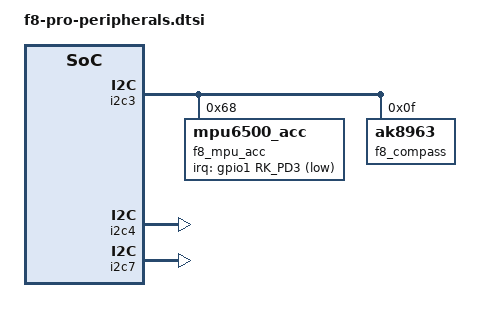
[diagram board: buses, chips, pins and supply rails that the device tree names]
// SPDX-License-Identifier: GPL-2.0-only
// Development fragment derived from the archived F8-PRO vendor DT.
// Not a complete board: PMIC, display power/graph, storage, GPU and boot are pending.
// Do not deploy the compile-check DTB produced with this fragment.

// PWM14 m0 is GPIO3_C2, the factory vibrator control. Backlight uses m1.
&pwm14 {
	pinctrl-names = "default";
	pinctrl-0 = <&pwm14m1_pins>;
};

/ {
	f8_backlight: backlight {
		compatible = "pwm-backlight";
		pwms = <&pwm14 0 20000 0>;
		brightness-levels = <
			0 1 2 3 4 5 6 7 8 9 10 11 12 13 14 15
			16 17 18 19 20 21 22 23 24 25 26 27 28 29 30 31
			32 33 34 35 36 37 38 39 40 41 42 43 44 45 46 47
			48 49 50 51 52 53 54 55 56 57 58 59 60 61 62 63
			64 65 66 67 68 69 70 71 72 73 74 75 76 77 78 79
			80 81 82 83 84 85 86 87 88 89 90 91 92 93 94 95
			96 97 98 99 100 101 102 103 104 105 106 107 108 109 110 111
			112 113 114 115 116 117 118 119 120 121 122 123 124 125 126 127
			128 129 130 131 132 133 134 135 136 137 138 139 140 141 142 143
			144 145 146 147 148 149 150 151 152 153 154 155 156 157 158 159
			160 161 162 163 164 165 166 167 168 169 170 171 172 173 174 175
			176 177 178 179 180 181 182 183 184 185 186 187 188 189 190 191
			192 193 194 195 196 197 198 199 200 201 202 203 204 205 206 207
			208 209 210 211 212 213 214 215 216 217 218 219 220 221 222 223
			224 225 226 227 228 229 230 231 232 233 234 235 236 237 238 239
			240 241 242 243 244 245 246 247 248 249 250 251 252 253 254 255
		>;
		default-brightness-level = <200>;
		enable-gpios = <&gpio1 RK_PC4 GPIO_ACTIVE_HIGH>;
		status = "disabled";
	};
};

&i2c3 {
	status = "okay";
	i2c-scl-rising-time-ns = <144>;
	i2c-scl-falling-time-ns = <4>;

	f8_mpu_acc: mpu_acc@68 {
		compatible = "mpu6500_acc";
		reg = <0x68>;
		irq-gpio = <&gpio1 RK_PD3 GPIO_ACTIVE_LOW>;
		irq_enable = <0>;
		poll_delay_ms = <30>;
		mpu-int_config = <0x10>;
		mpu-lenvel_shifter = <0>;
		mpu-orientation = <1 0 0 0 1 0 0 0 1>;
		orientation-x = <0>;
		orientation-y = <1>;
		orientation-z = <1>;
		support-hw-poweroff = <0>;
		mpu-debug = <0>;
		type = <2>;
		layout = <8>;
		pinctrl-names = "default";
		pinctrl-0 = <&f8_mpu_en>;
		status = "okay";
	};

	f8_compass: ak8963@f {
		compatible = "ak8963";
		reg = <0x0f>;
		type = <3>;
		irq_enable = <0>;
		poll_delay_ms = <30>;
		layout = <6>;
		reprobe_en = <0>;
		status = "okay";
	};

	// Gyro is intentionally not instantiated: vendor client 3-0068-1 is unbound.
	// Resolve shared-address registration before adding a gyro or IIO replacement.

};

&i2c4 {
	status = "okay";
	f8_touch: ts@40 {
		compatible = "gslX680_shuping";
		reg = <0x40>;
		touch-gpio = <&gpio1 RK_PB5 4>;
		reset-gpio = <&gpio1 RK_PB4 4>;
		pinctrl-names = "default";
		pinctrl-0 = <&f8_touch_gpio>;
		screen_max_x = <1200>;
		screen_max_y = <1920>;
		revert_x = <0>;
		revert_y = <0>;
		revert_xy = <0>;
		chip_id = <1>;
		// Keep vendor binding as evidence; do not bind an unverified firmware variant.
		status = "disabled";
	};
};

&i2c7 {
	status = "okay";
	f8_codec: es8388@11 {
		compatible = "everest,es8388", "everest,es8323";
		reg = <0x11>;
		#sound-dai-cells = <0>;
		clocks = <&cru I2S0_8CH_MCLKOUT>;
		clock-names = "mclk";
		assigned-clocks = <&cru I2S0_8CH_MCLKOUT>;
		assigned-clock-rates = <12288000>;
		pinctrl-names = "default";
		pinctrl-0 = <&i2s0_mclk>;
		spk-con-gpio = <&gpio4 RK_PA5 GPIO_ACTIVE_HIGH>;
		// Sound-card routing and amplifier control remain a separate adaptation.
		status = "disabled";
	};
};

&pinctrl {
	f8-pro {
		f8_mpu_en: mpu-en {
			rockchip,pins = <3 RK_PC3 RK_FUNC_GPIO &pcfg_pull_up>;
		};
		f8_touch_gpio: touch-gpio {
			rockchip,pins = <1 RK_PB5 RK_FUNC_GPIO &pcfg_pull_up>,
					<1 RK_PB4 RK_FUNC_GPIO &pcfg_pull_none>;
		};
	};
};
